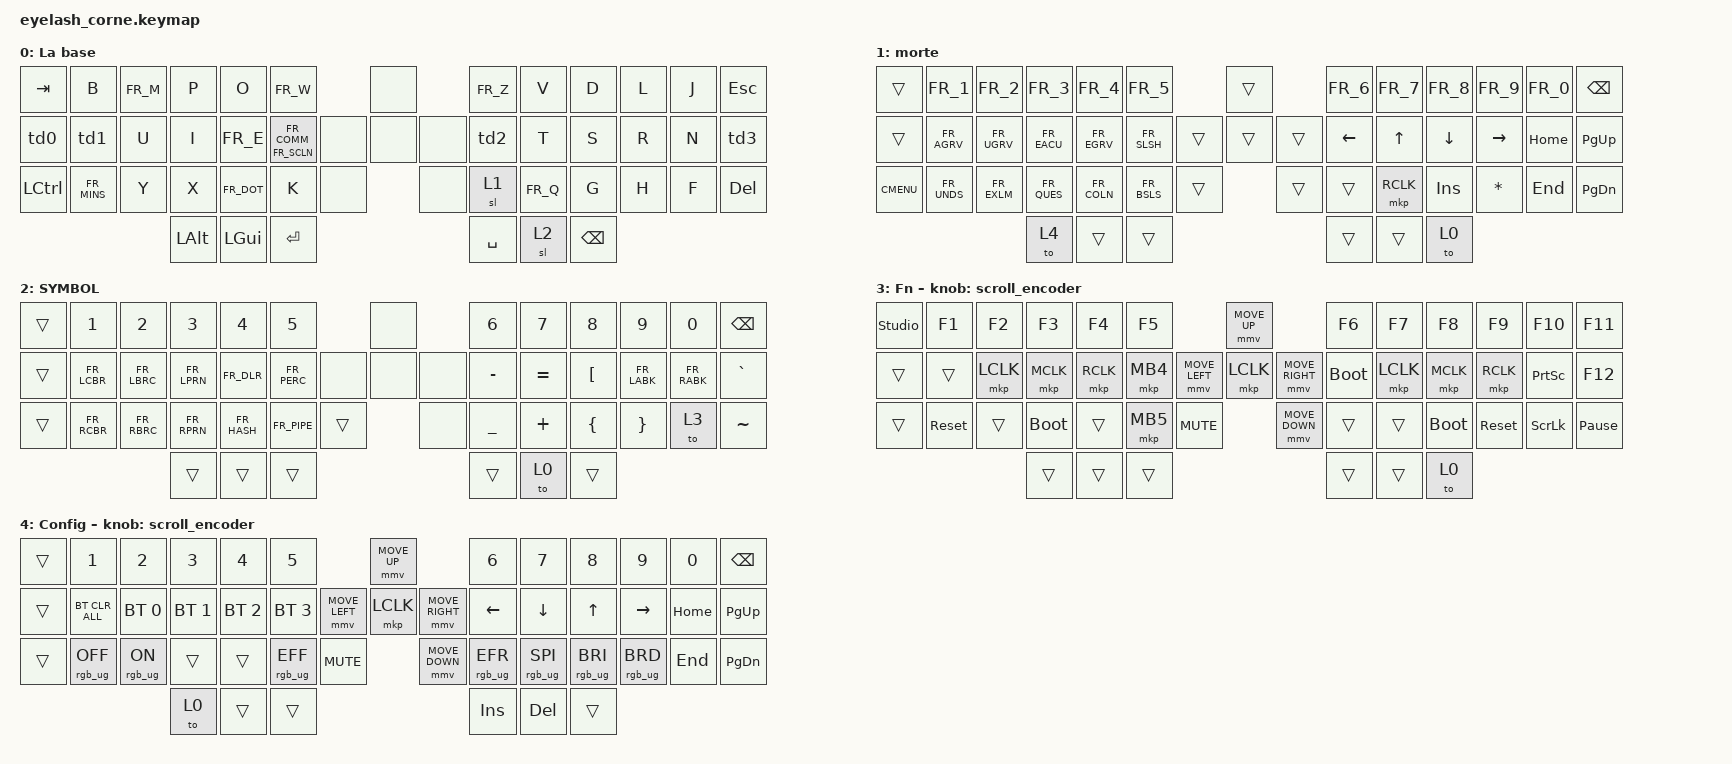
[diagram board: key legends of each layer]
#define ZMK_POINTING_DEFAULT_MOVE_VAL 1200  // 600
#define ZMK_POINTING_DEFAULT_SCRL_VAL 25   // 10

#include <input/processors.dtsi>
#include <zephyr/dt-bindings/input/input-event-codes.h>
#include "keymap_french.h"
#include <behaviors.dtsi>
#include <dt-bindings/zmk/bt.h>
#include <dt-bindings/zmk/keys.h>
#include <dt-bindings/zmk/pointing.h>
#include <dt-bindings/zmk/rgb.h>

&mt {
    tapping-term-ms = <100>; // This is the value already set by default
};

&mmv_input_listener { input-processors = <&zip_xy_scaler 2 1>; };

&msc_input_listener { input-processors = <&zip_scroll_scaler 2 1>; };

&msc {
    acceleration-exponent = <1>;      // 0
    time-to-max-speed-ms = <100>;       // 300
    delay-ms = <0>;                   // 0
};

&mmv {
    time-to-max-speed-ms = <500>;
    acceleration-exponent = <1>;
    trigger-period-ms = <16>;
};

/ {
    behaviors {
        td0: td0 {
            compatible = "zmk,behavior-tap-dance";
            display-name = "Shift/Caps Lock Tap Dance";
            #binding-cells = <0>;
            bindings = <&kp LEFT_SHIFT>, <&kp CAPS>;
        };

        td1: td1 {
            compatible = "zmk,behavior-tap-dance";
            display-name = "A/@ Tap Dance";
            #binding-cells = <0>;
            bindings = <&kp FR_A>, <&kp FR_AT>;
        };

        td2: td2 {
            compatible = "zmk,behavior-tap-dance";
            display-name = "C/ç Tap Dance";
            #binding-cells = <0>;
            tapping-term-ms = <200>;
            bindings = <&kp FR_C>, <&kp FR_CCED>;
        };

        td3: td3 {
            compatible = "zmk,behavior-tap-dance";
            #display-name = "'/* Tap Dance";
            #binding-cells = <0>;
            bindings = <&kp FR_QUOT>, <&kp KP_MULTIPLY>;
        };
    };

    rgb_encoder: rgb_encoder {
        compatible = "zmk,behavior-sensor-rotate";
        #sensor-binding-cells = <0>;
        bindings = <&rgb_ug RGB_BRI>, <&rgb_ug RGB_BRD>;
    };

    scroll_encoder: scroll_encoder {
        compatible = "zmk,behavior-sensor-rotate";
        #sensor-binding-cells = <0>;
        bindings = <&msc SCRL_DOWN>, <&msc SCRL_UP>;

        tap-ms = <100>;
    };

    keymap {
        compatible = "zmk,keymap";

        default_layer {
            display-name = "La base";
            bindings = <
&kp TAB    &kp B        &kp FR_M  &kp P         &kp O       &kp FR_W                             &none         &kp FR_Z   &kp V     &kp D     &kp L  &kp J  &kp ESC
&td0       &td1         &kp U     &kp I         &kp FR_E    &mt FR_SCLN FR_COMM           &none  &none  &none  &td2       &kp T     &kp S     &kp R  &kp N  &td3
&kp LCTRL  &kp FR_MINS  &kp Y     &kp X         &kp FR_DOT  &kp K                &none           &none         &sl 1      &kp FR_Q  &kp G     &kp H  &kp F  &kp DEL
                                  &kp LEFT_ALT  &kp LGUI    &kp RET                                            &kp SPACE  &sl 2     &kp BSPC
            >;
        };

        lower_layer {
            display-name = "morte";
            bindings = <
&trans       &kp FR_1     &kp FR_2     &kp FR_3     &kp FR_4     &kp FR_5                       &trans          &kp FR_6  &kp FR_7   &kp FR_8  &kp FR_9   &kp FR_0  &kp BSPC
&trans       &kp FR_AGRV  &kp FR_UGRV  &kp FR_EACU  &kp FR_EGRV  &kp FR_SLSH            &trans  &trans  &trans  &kp LEFT  &kp UP     &kp DOWN  &kp RIGHT  &kp HOME  &kp PG_UP
&kp K_CMENU  &kp FR_UNDS  &kp FR_EXLM  &kp FR_QUES  &kp FR_COLN  &kp FR_BSLS  &trans            &trans          &trans    &mkp RCLK  &kp INS   &kp ASTRK  &kp END   &kp PG_DN
                                       &to 4        &trans       &trans                                         &trans    &trans     &to 0
            >;
        };

        raise_layer {
            display-name = "SYMBOL";
            bindings = <
&trans  &kp NUMBER_1  &kp NUMBER_2  &kp NUMBER_3  &kp NUMBER_4  &kp NUMBER_5                   &none         &kp NUMBER_6  &kp NUMBER_7  &kp NUMBER_8   &kp NUMBER_9      &kp NUMBER_0  &kp BSPC
&trans  &kp FR_LCBR   &kp FR_LBRC   &kp FR_LPRN   &kp FR_DLR    &kp FR_PERC             &none  &none  &none  &kp MINUS     &kp EQUAL     &kp LBKT  &kp FR_LABK  &kp FR_RABK    &kp GRAVE
&trans  &kp FR_RCBR   &kp FR_RBRC   &kp FR_RPRN   &kp FR_HASH   &kp FR_PIPE   &trans           &none         &kp UNDER     &kp PLUS      &kp LBRC       &kp RBRC          &to 3         &kp TILDE
                                    &trans        &trans        &trans                                       &trans        &to 0         &trans
            >;
        };

        layer_3 {
            display-name = "Fn";
            bindings = <
&studio_unlock  &kp F1      &kp F2     &kp F3       &kp F4     &kp F5                                  &mmv MOVE_UP                     &kp F6       &kp F7     &kp F8       &kp F9      &kp F10          &kp F11
&trans          &trans      &mkp LCLK  &mkp MCLK    &mkp RCLK  &mkp MB4                &mmv MOVE_LEFT  &mkp LCLK       &mmv MOVE_RIGHT  &bootloader  &mkp LCLK  &mkp MCLK    &mkp RCLK   &kp PRINTSCREEN  &kp F12
&trans          &sys_reset  &trans     &bootloader  &trans     &mkp MB5  &kp C_MUTE                    &mmv MOVE_DOWN                   &trans       &trans     &bootloader  &sys_reset  &kp SCROLLLOCK   &kp PAUSE_BREAK
                                       &trans       &trans     &trans                                                                   &trans       &trans     &to 0
            >;

            sensor-bindings = <&scroll_encoder>;
        };

        layer_4 {
            display-name = "Config";
            bindings = <
&trans  &kp N1           &kp N2          &kp N3        &kp N4        &kp N5                                         &mmv MOVE_UP                     &kp N6           &kp N7           &kp N8           &kp N9           &kp N0    &kp BSPC
&trans  &bt BT_CLR_ALL   &bt BT_SEL 0    &bt BT_SEL 1  &bt BT_SEL 2  &bt BT_SEL 3                   &mmv MOVE_LEFT  &mkp LCLK       &mmv MOVE_RIGHT  &kp LEFT         &kp DOWN         &kp UP           &kp RIGHT        &kp HOME  &kp PG_UP
&trans  &rgb_ug RGB_OFF  &rgb_ug RGB_ON  &trans        &trans        &rgb_ug RGB_EFF  &kp C_MUTE                    &mmv MOVE_DOWN                   &rgb_ug RGB_EFR  &rgb_ug RGB_SPI  &rgb_ug RGB_BRI  &rgb_ug RGB_BRD  &kp END   &kp PG_DN
                                         &to 0         &trans        &trans                                                                          &kp INS          &kp DEL          &trans
            >;

            sensor-bindings = <&scroll_encoder>;
        };
    };
};
